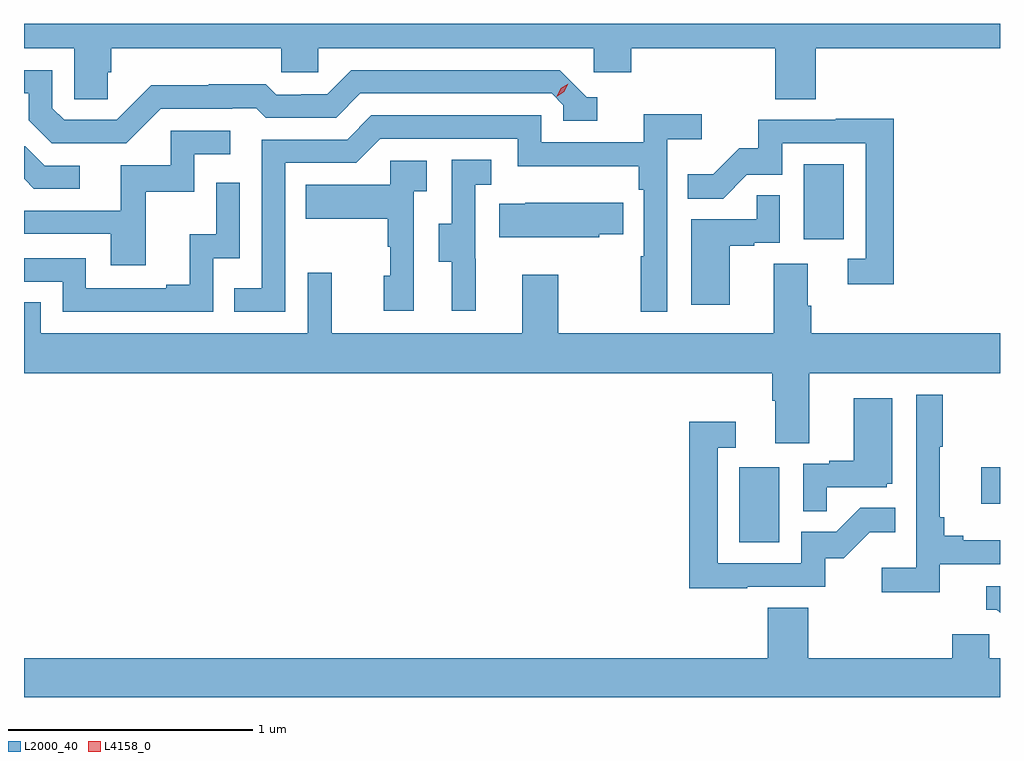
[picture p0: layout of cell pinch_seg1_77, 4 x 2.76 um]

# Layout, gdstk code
import gdstk
lib = gdstk.Library(unit=1e-6, precision=1e-09)
def R(c, l, rs):  # rectangles x0, y0, x1, y1
    for r in rs: c.add(gdstk.rectangle(r[:2], r[2:], *l))
def P(c, l, *ps):  # polygons
    for p in ps: c.add(gdstk.Polygon(p, *l))
L2000_40 = (2000, 40)
L4158_0 = (4158, 0)

pinch_seg1_77 = lib.new_cell('pinch_seg1_77')
R(pinch_seg1_77, L2000_40, [(1058.87,581.676,1059.034,581.983), (1059.861,581.834,1059.938,581.982), (1059.134,582.918,1059.298,583.225)])
P(pinch_seg1_77, L2000_40, [(1056.281,583.602),(1056.296,583.602),(1056.296,583.7),(1056.993,583.7),(1056.993,583.602),(1057.143,583.602),(1057.143,583.7),(1058.274,583.7),(1058.274,583.602),(1058.426,583.602),(1058.426,583.7),(1059.017,583.7),(1059.017,583.492),(1059.182,583.492),(1059.182,583.7),(1059.938,583.7),(1059.938,583.8),(1055.938,583.8),(1055.938,583.7),(1056.144,583.7),(1056.144,583.492),(1056.281,583.492)],
  [(1056.498,583.452),(1056.791,583.452),(1056.791,583.455),(1056.89,583.455),(1056.929,583.416),(1057.218,583.416),(1057.317,583.515),(1058.1,583.515),(1058.148,583.467),(1058.148,583.404),(1058.287,583.404),(1058.287,583.5),(1058.244,583.5),(1058.133,583.611),(1057.28,583.611),(1057.181,583.512),(1057.074,583.512),(1057.074,583.509),(1056.971,583.509),(1056.929,583.552),(1056.696,583.552),(1056.696,583.549),(1056.46,583.549),(1056.318,583.407),(1056.102,583.407),(1056.054,583.455),(1056.054,583.611),(1055.938,583.611),(1055.938,583.515),(1055.957,583.515),(1055.957,583.405),(1056.051,583.311),(1056.357,583.311)],
  [(1057.008,583.23),(1057.299,583.23),(1057.398,583.329),(1057.962,583.329),(1057.962,583.217),(1058.458,583.217),(1058.458,583.121),(1058.478,583.121),(1058.478,582.848),(1058.466,582.848),(1058.466,582.621),(1058.574,582.621),(1058.574,583.328),(1058.716,583.328),(1058.716,583.43),(1058.477,583.43),(1058.477,583.314),(1058.058,583.314),(1058.058,583.425),(1057.361,583.425),(1057.262,583.326),(1056.912,583.326),(1056.912,582.717),(1056.799,582.717),(1056.799,582.621),(1057.008,582.621)],
  [(1059.503,583.412),(1059.265,583.412),(1059.265,583.407),(1058.947,583.407),(1058.947,583.29),(1058.87,583.29),(1058.763,583.183),(1058.659,583.183),(1058.659,583.084),(1058.803,583.084),(1058.901,583.182),(1059.045,583.182),(1059.045,583.311),(1059.387,583.311),(1059.387,582.837),(1059.315,582.837),(1059.315,582.732),(1059.503,582.732)],
  [(1056.437,583.113),(1056.636,583.113),(1056.636,583.266),(1056.784,583.266),(1056.784,583.362),(1056.54,583.362),(1056.54,583.221),(1056.335,583.221),(1056.335,583.035),(1055.938,583.035),(1055.938,582.939),(1056.293,582.939),(1056.293,582.81),(1056.437,582.81)],
  [(1056.166,583.218),(1056.024,583.218),(1055.944,583.298),(1055.938,583.298),(1055.938,583.165),(1055.978,583.125),(1056.166,583.125)],
  [(1057.79,582.837),(1057.788,582.837),(1057.788,583.141),(1057.852,583.141),(1057.852,583.244),(1057.692,583.244),(1057.692,582.981),(1057.637,582.981),(1057.637,582.826),(1057.691,582.826),(1057.691,582.624),(1057.79,582.624)],
  [(1057.536,583.115),(1057.588,583.115),(1057.588,583.239),(1057.44,583.239),(1057.44,583.141),(1057.093,583.141),(1057.093,583.001),(1057.428,583.001),(1057.428,582.887),(1057.438,582.887),(1057.438,582.768),(1057.412,582.768),(1057.412,582.624),(1057.536,582.624)],
  [(1056.714,582.84),(1056.822,582.84),(1056.822,583.15),(1056.726,583.15),(1056.726,582.938),(1056.617,582.938),(1056.617,582.73),(1056.521,582.73),(1056.521,582.717),(1056.192,582.717),(1056.192,582.84),(1055.938,582.84),(1055.938,582.744),(1056.096,582.744),(1056.096,582.621),(1056.714,582.621)],
  [(1058.83,582.891),(1058.93,582.891),(1058.93,582.903),(1059.036,582.903),(1059.036,583.097),(1058.941,583.097),(1058.941,582.999),(1058.672,582.999),(1058.672,582.648),(1058.83,582.648)],
  [(1058.295,582.937),(1058.393,582.937),(1058.393,583.066),(1057.993,583.066),(1057.993,583.063),(1057.885,583.063),(1057.885,582.926),(1058.295,582.926)],
  [(1059.157,582.368),(1059.938,582.368),(1059.938,582.532),(1059.164,582.532),(1059.164,582.644),(1059.151,582.644),(1059.151,582.818),(1059.011,582.818),(1059.011,582.532),(1058.127,582.532),(1058.127,582.772),(1057.979,582.772),(1057.979,582.532),(1057.199,582.532),(1057.199,582.781),(1057.101,582.781),(1057.101,582.532),(1056.006,582.532),(1056.006,582.659),(1055.938,582.659),(1055.938,582.368),(1059.005,582.368),(1059.005,582.256),(1059.017,582.256),(1059.017,582.082),(1059.157,582.082)],
  [(1059.692,581.586),(1059.938,581.586),(1059.938,581.683),(1059.787,581.683),(1059.787,581.702),(1059.71,581.702),(1059.71,581.779),(1059.691,581.779),(1059.691,582.067),(1059.703,582.067),(1059.703,582.28),(1059.594,582.28),(1059.594,581.572),(1059.453,581.572),(1059.453,581.47),(1059.692,581.47)],
  [(1059.227,581.901),(1059.474,581.901),(1059.474,581.916),(1059.496,581.916),(1059.496,582.265),(1059.338,582.265),(1059.338,582.01),(1059.239,582.01),(1059.239,581.997),(1059.132,581.997),(1059.132,581.803),(1059.227,581.803)],
  [(1058.903,581.493),(1059.222,581.493),(1059.222,581.61),(1059.298,581.61),(1059.405,581.717),(1059.509,581.717),(1059.509,581.816),(1059.365,581.816),(1059.267,581.718),(1059.123,581.718),(1059.123,581.589),(1058.781,581.589),(1058.781,582.063),(1058.854,582.063),(1058.854,582.169),(1058.665,582.169),(1058.665,581.488),(1058.903,581.488)],
  [(1059.938,581.496),(1059.881,581.496),(1059.881,581.4),(1059.924,581.4),(1059.938,581.386)],
  [(1059.938,581.2),(1059.894,581.2),(1059.894,581.298),(1059.743,581.298),(1059.743,581.2),(1059.152,581.2),(1059.152,581.408),(1058.987,581.408),(1058.987,581.2),(1055.938,581.2),(1055.938,581.041),(1059.938,581.041)])
P(pinch_seg1_77, L4158_0, [(1058.122,583.502),(1058.122,583.503),(1058.138,583.536),(1058.169,583.555),(1058.169,583.555),(1058.169,583.555),(1058.153,583.522),(1058.122,583.502)])

lib.write_gds('pinch_seg1_77.gds')
